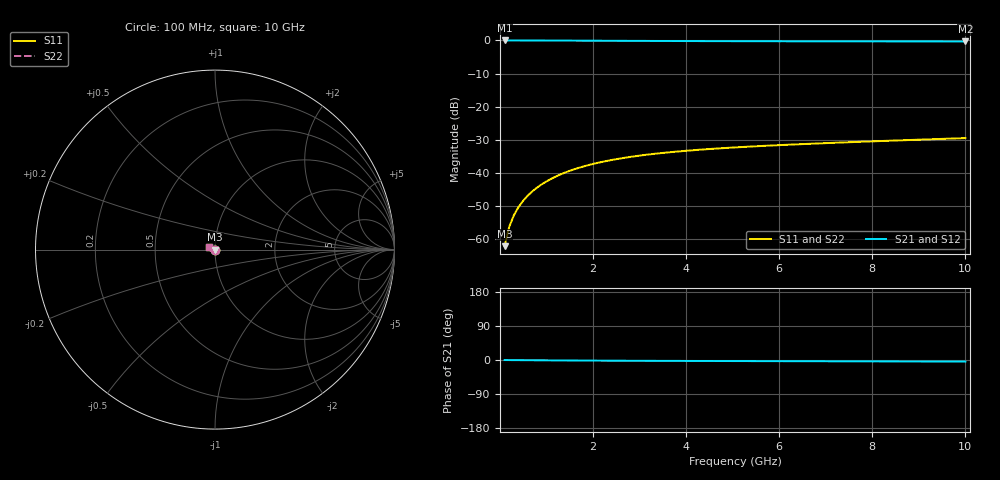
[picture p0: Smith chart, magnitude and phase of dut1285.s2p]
! Touchstone file exported from HFSS 2024.1.0
!  File:  C:/UserFiles/LocalFiles/RDL_TSV_Batchsim/temp_TSV1_1285_1780255662.aedt
!  Generated:  03:33:25 AM Jun  1, 2026
!  Design:  TSV1
!  Project:  temp_TSV1_1285_1780255662
!  Setup:  Setup1
!  Solution:  Sweep
! Variables:
!  dtsv = 8.65um
!  hbump = 3um
!  htsv = 61.12um
!  lrdl = 252.1521522um
!  p = 40
!  p1 = 54.05um
!  t = 500um
!  trdl = 3um
!  wrdl = 24.89489489um
# GHz S MA R 50.000000
! Terminal data exported
! Port[1] = TSV22_T1
! Port[2] = TSV22_T2
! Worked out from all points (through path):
!   100 points, 100 MHz to 10 GHz, reference 50 ohm
!   highest |S21| = 0.00 dB at 100 MHz (marker M1); lowest = -0.3 dB at 10 GHz (marker M2)
!   lowest |S11| = -62.0 dB at 100 MHz (marker M3), VSWR 1.00, Z = 50 - j0.078 ohm
!   |S11| at or under -10 dB: start of sweep to end of sweep
!   |S22| runs from -62.0 to -29.4 dB; largest |S21 - S12| = 2.1e-15
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0.1  0.000792 -80.1  0.9998 -0.1  0.9998 -0.1  0.000792 -80.1
! Gamma 0 0 0 0
! Port Impedance 50 0 50 0
0.2  0.001556 -88.2  0.9997 -0.2  0.9997 -0.2  0.001556 -88.2
0.3  0.002324 -92.3  0.9996 -0.3  0.9996 -0.3  0.002324 -92.3
0.4  0.003088 -95.5  0.9993 -0.4  0.9993 -0.4  0.003088 -95.5
0.5  0.003846 -98.2  0.9991 -0.5  0.9991 -0.5  0.003846 -98.2
0.6  0.004598 -100.7  0.9987 -0.6  0.9987 -0.6  0.004598 -100.7
0.7  0.005341 -103.0  0.9984 -0.7  0.9984 -0.7  0.005341 -103.0
0.8  0.006074 -105.3  0.9979 -0.7  0.9979 -0.7  0.006074 -105.3
0.9  0.006796 -107.5  0.9975 -0.8  0.9975 -0.8  0.006796 -107.5
1.1  0.0082 -111.7  0.9965 -1.0  0.9965 -1.0  0.0082 -111.7
1.4  0.0102 -117.7  0.9947 -1.2  0.9947 -1.2  0.0102 -117.7
1.6  0.01145 -121.5  0.9935 -1.4  0.9935 -1.4  0.01145 -121.5
1.8  0.01263 -125.2  0.9922 -1.5  0.9922 -1.5  0.01263 -125.2
2.1  0.01428 -130.4  0.9902 -1.7  0.9902 -1.7  0.01428 -130.4
2.5  0.01624 -136.8  0.9876 -1.9  0.9876 -1.9  0.01624 -136.8
2.9  0.01796 -142.8  0.9851 -2.1  0.9851 -2.1  0.01796 -142.8
3.4  0.01982 -149.6  0.9823 -2.3  0.9823 -2.3  0.01982 -149.6
4.2  0.02228 -159.1  0.9784 -2.5  0.9784 -2.5  0.02228 -159.1
5.1  0.02451 -168.3  0.975 -2.8  0.975 -2.8  0.02451 -168.3
6.7  0.02776 178.4  0.9708 -3.3  0.9708 -3.3  0.02776 178.4
8.4  0.03084 167.2  0.9679 -3.7  0.9679 -3.7  0.03084 167.3
10  0.03373 158.6  0.9659 -4.2  0.9659 -4.2  0.03373 158.6
